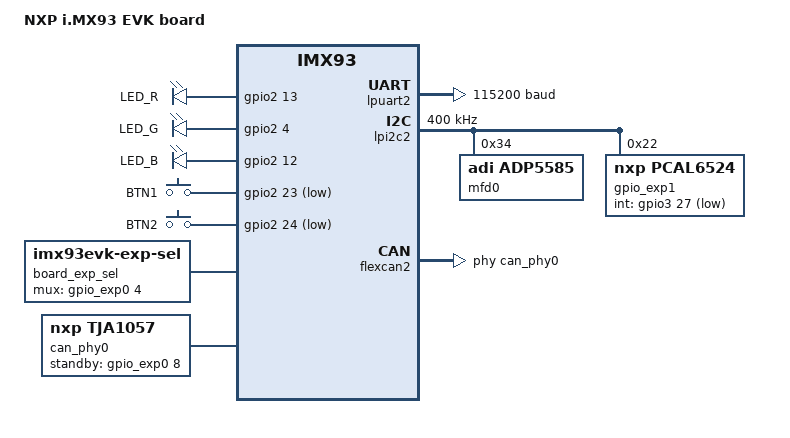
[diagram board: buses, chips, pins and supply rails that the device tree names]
/*
 * Copyright 2024 NXP
 *
 * SPDX-License-Identifier: Apache-2.0
 */

/dts-v1/;

#include <nxp/nxp_imx93_m33.dtsi>
#include "imx93_evk-pinctrl.dtsi"
#include <zephyr/dt-bindings/input/input-event-codes.h>

/ {
	model = "NXP i.MX93 EVK board";
	compatible = "nxp,imx93_evk";

	chosen {
		/* TCM */
		zephyr,flash = &itcm;
		zephyr,sram = &dtcm;

		zephyr,console = &lpuart2;
		zephyr,shell-uart = &lpuart2;

		zephyr,canbus = &flexcan2;
	};

	aliases {
		led0 = &led_r;
		led1 = &led_g;
		sw0 = &btn_1;
	};

	leds {
		compatible = "gpio-leds";
		led_r: led_r {
			label = "LED_R";
			gpios = <&gpio2 13 GPIO_ACTIVE_HIGH>;
		};
		led_g: led_g {
			label = "LED_G";
			gpios = <&gpio2 4 GPIO_ACTIVE_HIGH>;
		};
		led_b: led_b {
			label = "LED_B";
			gpios = <&gpio2 12 GPIO_ACTIVE_HIGH>;
		};
	};

	keys {
		compatible = "gpio-keys";

		btn_1: btn_1{
			label = "BTN1";
			gpios = <&gpio2 23 GPIO_ACTIVE_LOW>;
			zephyr,code = <INPUT_KEY_0>;
		};

		btn_2: btn_2{
			label = "BTN2";
			gpios = <&gpio2 24 GPIO_ACTIVE_LOW>;
			zephyr,code = <INPUT_KEY_1>;
		};
	};

	board_exp_sel: board-exp-sel {
		/*
		 * Kconfig BOARD_MIMX93_EVK_A55_EXP_SEL_INIT must be
		 * enabled to configure it during init.
		 */
		compatible = "imx93evk-exp-sel";
		mux-gpios = <&gpio_exp0 4 GPIO_ACTIVE_HIGH>;
		mux = "A";
	};

	can_phy0: can-phy0 {
		compatible = "nxp,tja1057", "can-transceiver-gpio";
		standby-gpios = <&gpio_exp0 8 GPIO_ACTIVE_HIGH>;
		max-bitrate = <8000000>;
		#phy-cells = <0>;
		status = "okay";
	};
};

&lpuart2 {
	status = "okay";
	current-speed = <115200>;
	pinctrl-0 = <&uart2_default>;
	pinctrl-names = "default";
};

&lpi2c2 {
	status = "okay";
	clock-frequency = <I2C_BITRATE_FAST>;
	pinctrl-0 = <&i2c2_default>;
	pinctrl-names = "default";

	mfd0:adp5585@34 {
		compatible = "adi,adp5585";
		reg = <0x34>;
		status = "okay";

		gpio_exp0: adp5585_gpio {
			compatible = "adi,adp5585-gpio";
			gpio-controller;
			#gpio-cells = <2>;
			ngpios = <13>;
			gpio-reserved-ranges = <5 3>;
			status = "okay";
			/*
			 * This device has non-contiguous gpio range:
			 *   GPIO Pin R0~R4 are gpio0~4
			 *   GPIO Pin C0~C4 are gpio8~12
			 */
		};
	};

	gpio_exp1: pcal6524@22 {
		compatible = "nxp,pcal6524";
		reg = <0x22>;
		gpio-controller;
		#gpio-cells = <2>;
		ngpios = <24>;
		int-gpios = <&gpio3 27 (GPIO_ACTIVE_LOW|GPIO_PULL_UP)>;
		status = "okay";
	};
};

&gpio1 {
	status = "okay";
};

&gpio2 {
	status = "okay";
};

&gpio3 {
	status = "okay";
};

&gpio4 {
	status = "okay";
};

&flexcan2 {
	pinctrl-0 = <&flexcan2_default>;
	pinctrl-names = "default";
	phys = <&can_phy0>;
	status = "okay";
};
